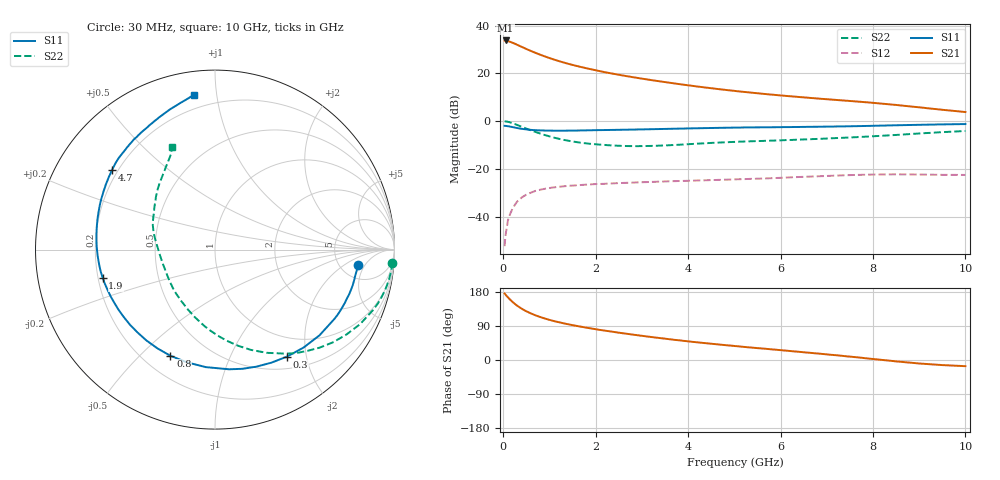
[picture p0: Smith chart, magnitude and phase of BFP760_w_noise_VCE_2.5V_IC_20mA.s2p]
! Infineon Technologies  Discrete & RF Semiconductors
! BFP760
! VCE =  2.5 V,  IC =  20 mA
! Common Emitter S-Parameters:  Nov 2012
# GHz  S  MA  R  50
!  f  S11  S21  S12  S22
! GHz  MAG  ANG  MAG  ANG  MAG  ANG  MAG  ANG
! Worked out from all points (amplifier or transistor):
!   99 points, 30 MHz to 10 GHz, reference 50 ohm
!   highest |S21| = 33.8 dB at 50 MHz (marker M1)
!   |S21| within 3 dB of that: start of sweep to 435.3 MHz
!   unconditionally stable (mu >= 1): 4.683 GHz to end of sweep
!   at 350 MHz: K = 0.21, MSG = 32.2 dB, |S12| = -32.8 dB
!   at 3.5 GHz: K = 0.86, MSG = 20.8 dB, |S12| = -25.3 dB
!   at 10 GHz: K = 1.10, MAG = 11.2 dB, |S12| = -22.5 dB
!   lowest NFmin = 0.63 dB at 900 MHz
!   S11 on the Smith chart (normalised r, x): 30 MHz: 7.26, -3.46; 300 MHz: 0.68, -1.67; 800 MHz: 0.31, -0.62; 1.9 GHz: 0.22, -0.12; 4.7 GHz: 0.18, +0.33; 10 GHz: 0.12, +0.86
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0.03  0.7987 -6.2  48.92 175.6  0.0024 91.8  0.9901 -4.2
0.04  0.7985 -8.3  48.87 174.4  0.0032 85.2  0.9901 -5.6
0.05  0.795 -10.3  49.2 172.3  0.004 85.6  0.9883 -7.0
0.1  0.7837 -20.5  47.86 165.6  0.0082 78.8  0.9712 -14.2
0.15  0.7691 -30.2  46.15 159.2  0.0114 74.5  0.9429 -20.9
0.2  0.753 -39.4  44.13 153.5  0.0146 70.3  0.9089 -27.2
0.3  0.7187 -56.0  40.04 143.5  0.0206 63.9  0.8359 -38.2
0.4  0.6915 -70.7  36.15 135.3  0.0251 57.2  0.7633 -47.7
0.5  0.6714 -83.3  32.62 128.6  0.0288 52.0  0.6992 -56.0
0.6  0.6568 -94.5  29.62 122.8  0.0318 48.2  0.6424 -63.5
0.8  0.6415 -112.8  24.73 113.4  0.0366 41.7  0.5503 -76.6
1  0.6343 -127.0  21.05 105.9  0.0398 37.1  0.4804 -88.0
1.2  0.6322 -138.5  18.23 99.8  0.0421 33.8  0.4288 -98.1
1.7  0.6391 -159.4  13.54 87.5  0.0461 28.7  0.3508 -119.5
1.9  0.645 -165.9  12.24 83.3  0.0474 27.3  0.3337 -127.3
2.6  0.6617 176.1  9.034 70.4  0.0508 24.2  0.3027 -150.9
3.4  0.6849 160.4  6.811 57.7  0.0541 22.3  0.3076 -173.5
4.7  0.7253 142.2  4.654 40.5  0.059 20.6  0.3576 163.4
5.1  0.7355 138.5  4.215 35.9  0.0607 20.1  0.3715 158.8
6.7  0.763 125.9  3.042 18.3  0.0694 17.8  0.4213 142.6
8.5  0.8206 107.8  2.189 -3.6  0.0768 9.0  0.5142 123.8
10  0.8702 97.9  1.556 -16.3  0.0747 5.3  0.6225 112.7
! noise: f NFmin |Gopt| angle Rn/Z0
0.9  0.63  0.08  43  0.09
1.8  0.67  0.06  168  0.08
2.4  0.72  0.08  -178  0.08
3.5  0.83  0.12  -153  0.09
5.5  1.06  0.26  -120  0.11
8  1.37  0.38  -84  0.32
